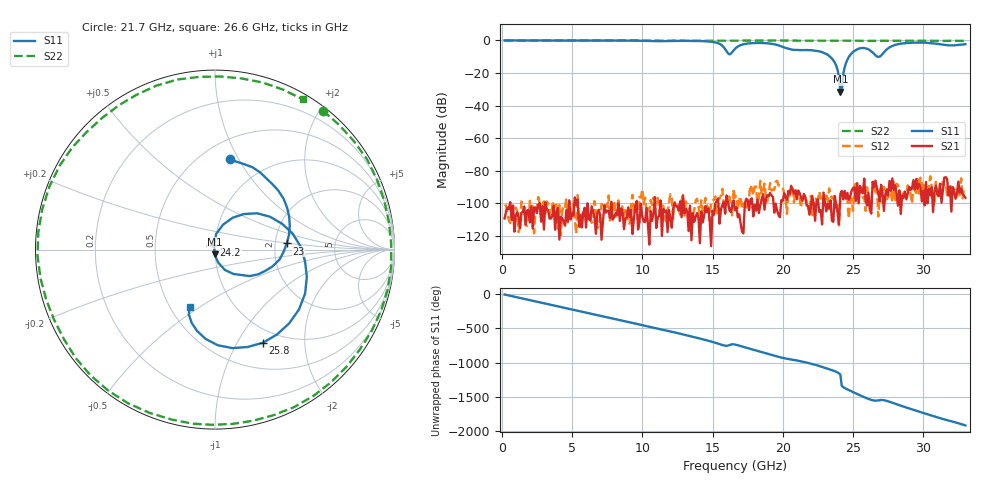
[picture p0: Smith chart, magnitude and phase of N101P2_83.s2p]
# GHZ S RI R 50
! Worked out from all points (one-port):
!   329 points, 200 MHz to 33 GHz, reference 50 ohm
!   lowest |S11| = -31.5 dB at 24.1 GHz (marker M1), VSWR 1.05, Z = 49.7 - j2.63 ohm
!   |S11| at or under -10 dB: 23.36 GHz to 24.71 GHz (1.355 GHz wide, 5.64 % of centre); 26.77114 GHz to 26.86421 GHz (93.07 MHz wide, 0.347 % of centre)
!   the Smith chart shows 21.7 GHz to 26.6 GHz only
!   S11 on the Smith chart (normalised r, x): 21.7 GHz: 0.68, +0.92; 23 GHz: 2.32, +0.19; 24.2 GHz: 0.99, +0.05; 25.8 GHz: 0.82, -1.29; 26.6 GHz: 0.63, -0.46
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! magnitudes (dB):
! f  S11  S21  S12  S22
! 200 MHz  0.0  -109.3  -101.7  0.0
! 5.7 GHz  -0.1  -114.9  -104.8  -0.1
! 11.2 GHz  -0.5  -107.8  -103.5  -0.1
! 15.2 GHz  -1.2  -100.1  -95.9  -0.2
! 16.2 GHz  -8.5  -104.2  -95.8  -0.2
! 16.6 GHz  -5.1  -104.3  -96.5  -0.2
! 18.4 GHz  -1.5  -101.1  -86.4  -0.1
! 21.7 GHz  -5.9  -101.5  -99.2  -0.2
! 22.1 GHz  -6.1  -95.6  -107.3  -0.1
! 23 GHz  -7.9  -99.4  -101.1  -0.2
! 23.8 GHz  -15.4  -100.8  -102.1  -0.2
! 24 GHz  -22.5  -113.1  -113.6  -0.2
! 24.1 GHz  -31.5  -94.1  -99.0  -0.1
! 24.2 GHz  -31.3  -92.4  -98.1  -0.1
! 24.3 GHz  -21.1  -97.6  -98.9  -0.1
! 24.4 GHz  -16.7  -92.5  -93.0  -0.1
! 24.7 GHz  -10.2  -97.9  -109.3  -0.2
! 25.8 GHz  -4.7  -84.8  -96.1  -0.3
! 26.6 GHz  -9.1  -86.1  -93.2  -0.3
! 27.6 GHz  -4.3  -86.3  -93.8  -0.2
! 29.2 GHz  -1.4  -90.6  -100.2  -0.1
! 33 GHz  -2.3  -96.7  -91.6  -0.3
